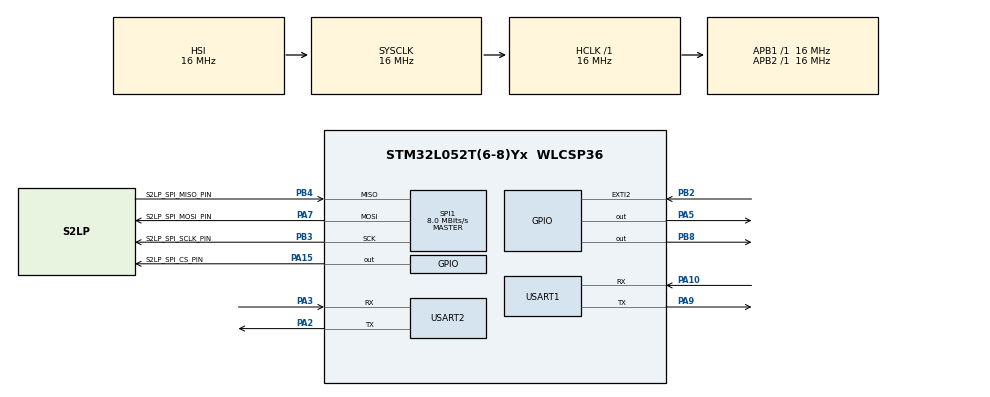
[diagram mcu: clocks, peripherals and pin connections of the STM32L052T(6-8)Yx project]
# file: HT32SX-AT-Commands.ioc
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Dma.Request0=SPI1_TX
Dma.Request1=SPI1_RX
Dma.Request2=USART1_RX
Dma.Request3=USART1_TX
Dma.SPI1_RX.1.Direction=DMA_PERIPH_TO_MEMORY
Dma.SPI1_RX.1.Instance=DMA1_Channel2
Dma.SPI1_RX.1.MemDataAlignment=DMA_MDATAALIGN_BYTE
Dma.SPI1_RX.1.MemInc=DMA_MINC_ENABLE
Dma.SPI1_RX.1.Mode=DMA_NORMAL
Dma.SPI1_RX.1.PeriphDataAlignment=DMA_PDATAALIGN_BYTE
Dma.SPI1_RX.1.PeriphInc=DMA_PINC_DISABLE
Dma.SPI1_RX.1.Priority=DMA_PRIORITY_HIGH
Dma.SPI1_TX.0.Direction=DMA_MEMORY_TO_PERIPH
Dma.SPI1_TX.0.Instance=DMA1_Channel3
Dma.SPI1_TX.0.MemDataAlignment=DMA_MDATAALIGN_BYTE
Dma.SPI1_TX.0.MemInc=DMA_MINC_ENABLE
Dma.SPI1_TX.0.Mode=DMA_NORMAL
Dma.SPI1_TX.0.PeriphDataAlignment=DMA_PDATAALIGN_BYTE
Dma.SPI1_TX.0.PeriphInc=DMA_PINC_DISABLE
Dma.SPI1_TX.0.Priority=DMA_PRIORITY_HIGH
Dma.USART1_RX.2.Direction=DMA_PERIPH_TO_MEMORY
Dma.USART1_RX.2.Instance=DMA1_Channel5
Dma.USART1_RX.2.MemDataAlignment=DMA_MDATAALIGN_BYTE
Dma.USART1_RX.2.MemInc=DMA_MINC_ENABLE
Dma.USART1_RX.2.Mode=DMA_CIRCULAR
Dma.USART1_RX.2.PeriphDataAlignment=DMA_PDATAALIGN_BYTE
Dma.USART1_RX.2.PeriphInc=DMA_PINC_DISABLE
Dma.USART1_RX.2.Priority=DMA_PRIORITY_LOW
Dma.USART1_TX.3.Direction=DMA_MEMORY_TO_PERIPH
Dma.USART1_TX.3.Instance=DMA1_Channel4
Dma.USART1_TX.3.MemDataAlignment=DMA_MDATAALIGN_BYTE
Dma.USART1_TX.3.MemInc=DMA_MINC_ENABLE
Dma.USART1_TX.3.Mode=DMA_NORMAL
Dma.USART1_TX.3.PeriphDataAlignment=DMA_PDATAALIGN_BYTE
Dma.USART1_TX.3.PeriphInc=DMA_PINC_DISABLE
Dma.USART1_TX.3.Priority=DMA_PRIORITY_HIGH
Mcu.Family=STM32L0
Mcu.Name=STM32L052T(6-8)Yx
Mcu.Package=WLCSP36
NVIC.DMA1_Channel2_3_IRQn=true\:1\:0\:true\:false\:true\:false\:true
NVIC.DMA1_Channel4_5_6_7_IRQn=true\:0\:0\:false\:false\:true\:false\:true
NVIC.EXTI2_3_IRQn=true\:0\:0\:false\:false\:true\:true\:true
NVIC.RTC_IRQn=true\:1\:0\:true\:false\:true\:true\:true
NVIC.TIM21_IRQn=true\:0\:0\:false\:false\:true\:true\:true
NVIC.TIM22_IRQn=true\:0\:0\:false\:false\:true\:true\:true
NVIC.TIM6_DAC_IRQn=true\:0\:0\:false\:false\:true\:true\:true
NVIC.USART1_IRQn=true\:2\:0\:true\:false\:true\:true\:true
PA0.Mode=SYS_WakeUp0
PA0.Signal=SYS_WKUP1
PA10.Mode=Asynchronous
PA10.Signal=USART1_RX
PA13.Mode=Serial_Wire
PA13.Signal=SYS_SWDIO
PA14.Mode=Serial_Wire
PA14.Signal=SYS_SWCLK
PA15.GPIO_Label=S2LP_SPI_CS_PIN
PA15.GPIO_PuPd=GPIO_PULLUP
PA15.GPIO_Speed=GPIO_SPEED_FREQ_HIGH
PA15.PinState=GPIO_PIN_SET
PA15.Signal=GPIO_Output
PA2.Mode=Asynchronous
PA2.Signal=USART2_TX
PA3.Mode=Asynchronous
PA3.Signal=USART2_RX
PA5.GPIO_Speed=GPIO_SPEED_FREQ_HIGH
PA5.Signal=GPIO_Output
PA7.GPIO_Label=S2LP_SPI_MOSI_PIN
PA7.GPIO_PuPd=GPIO_PULLUP
PA7.GPIO_Speed=GPIO_SPEED_FREQ_HIGH
PA7.Mode=Full_Duplex_Master
PA7.Signal=SPI1_MOSI
PA9.Mode=Asynchronous
PA9.Signal=USART1_TX
PB2.GPIO_ModeDefaultEXTI=GPIO_MODE_IT_FALLING
PB2.Signal=GPXTI2
PB3.GPIO_Label=S2LP_SPI_SCLK_PIN
PB3.GPIO_PuPd=GPIO_PULLUP
PB3.GPIO_Speed=GPIO_SPEED_FREQ_HIGH
PB3.Mode=Full_Duplex_Master
PB3.Signal=SPI1_SCK
PB4.GPIO_Label=S2LP_SPI_MISO_PIN
PB4.GPIO_PuPd=GPIO_PULLUP
PB4.GPIO_Speed=GPIO_SPEED_FREQ_HIGH
PB4.Mode=Full_Duplex_Master
PB4.Signal=SPI1_MISO
PB8.GPIO_Speed=GPIO_SPEED_FREQ_HIGH
PB8.Signal=GPIO_Output
ProjectManager.HeapSize=0x200
ProjectManager.StackSize=0x400
ProjectManager.TargetToolchain=STM32CubeIDE
RCC.AHBFreq_Value=16000000
RCC.APB1Freq_Value=16000000
RCC.APB1TimFreq_Value=16000000
RCC.APB2Freq_Value=16000000
RCC.APB2TimFreq_Value=16000000
RCC.HCLKFreq_Value=16000000
RCC.HSI16_VALUE=16000000
RCC.HSI48_VALUE=48000000
RCC.HSI_VALUE=16000000
RCC.LSE_VALUE=32768
RCC.MSI_VALUE=2097000
RCC.PLLDIV=RCC_PLLDIV_4
RCC.PLLMUL=RCC_PLLMUL_4
RCC.SYSCLKFreq_VALUE=16000000
RCC.SYSCLKSource=RCC_SYSCLKSOURCE_HSI
RCC.Usart1ClockSelection=RCC_USART1CLKSOURCE_HSI
RCC.VCOOutputFreq_Value=64000000
RTC.WakeUpCounter=1000
SPI1.CalculateBaudRate=8.0 MBits/s
SPI1.Direction=SPI_DIRECTION_2LINES
SPI1.Mode=SPI_MODE_MASTER
SPI1.VirtualType=VM_MASTER
TIM21.Period=50-1
TIM21.Prescaler=16000-1
TIM22.Period=60000-1
TIM22.Prescaler=16000-1
TIM6.Period=1000-1
TIM6.Prescaler=64-1
USART1.VirtualMode-Asynchronous=VM_ASYNC
USART2.VirtualMode-Asynchronous=VM_ASYNC
VP_ADC_TempSens_Input.Mode=IN-TempSens
VP_ADC_Vref_Input.Mode=IN-Vrefint
VP_RTC_VS_RTC_Activate.Mode=RTC_Enabled
VP_RTC_VS_RTC_Calendar.Mode=RTC_Calendar
VP_RTC_VS_RTC_WakeUp_intern.Mode=WakeUp
VP_TIM21_VS_ClockSourceINT.Mode=Internal
VP_TIM22_VS_ClockSourceINT.Mode=Internal
VP_TIM2_VS_ClockSourceINT.Mode=Internal
VP_TIM6_VS_ClockSourceINT.Mode=Enable_Timer
board=custom

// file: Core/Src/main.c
/* USER CODE BEGIN Header */
/**
 ******************************************************************************
 * @file           : main.c
 * @brief          : Main program body
 ******************************************************************************
 * @attention
 *
 * <h2><center>&copy; Copyright (c) 2019 STMicroelectronics.
 * All rights reserved.</center></h2>
 *
 * This software component is licensed by ST under BSD 3-Clause license,
 * the "License"; You may not use this file except in compliance with the
 * License. You may obtain a copy of the License at:
 *                        opensource.org/licenses/BSD-3-Clause
 *
 ******************************************************************************
 */
/* USER CODE END Header */

#include "main.h"
#include "adc.h"
#include "dma.h"
#include "rtc.h"
#include "spi.h"
#include "tim.h"
#include "usart.h"
#include "gpio.h"

/* USER CODE BEGIN Includes */
#include "SDK_UTILS_Flash.h"
#include "HT_mcu_api.h"
/* USER CODE END Includes */

void SystemClock_Config(void);

int main(void)
{

	/* MCU Configuration--------------------------------------------------------*/

	/* Reset of all peripherals, Initializes the Flash interface and the Systick. */
	HAL_Init();

	/* Configure the system clock */
	SystemClock_Config();

	/* Initialize all configured peripherals */
	MX_GPIO_Init();
	MX_DMA_Init();
	MX_RTC_Init();
	MX_SPI1_Init();
	MX_TIM6_Init();
	MX_USART1_UART_Init();
	MX_ADC_Init();
	MX_TIM2_Init();
	MX_TIM21_Init();
	MX_TIM22_Init();
	MX_USART2_UART_Init();
	/* USER CODE BEGIN 2 */

	GPIOA->BSRR = 1 << 5;

	__HAL_TIM_CLEAR_FLAG(&htim22, TIM_FLAG_UPDATE);
	HAL_TIM_Base_Start_IT(&htim22);

	mcuConfig();

	/* USER CODE END 2 */

	/* Infinite loop */
	while (1)
	{

		/* USER CODE BEGIN 3 */
		HT_hcfsm();
	}
	/* USER CODE END 3 */
}

void SystemClock_Config(void)
{
	RCC_OscInitTypeDef RCC_OscInitStruct = {0};
	RCC_ClkInitTypeDef RCC_ClkInitStruct = {0};
	RCC_PeriphCLKInitTypeDef PeriphClkInit = {0};

	/** Configure the main internal regulator output voltage
	 */
	__HAL_PWR_VOLTAGESCALING_CONFIG(PWR_REGULATOR_VOLTAGE_SCALE1);
	/** Initializes the CPU, AHB and APB busses clocks
	 */
	RCC_OscInitStruct.OscillatorType = RCC_OSCILLATORTYPE_HSI|RCC_OSCILLATORTYPE_LSI;
	RCC_OscInitStruct.HSIState = RCC_HSI_ON;
	RCC_OscInitStruct.HSICalibrationValue = RCC_HSICALIBRATION_DEFAULT;
	RCC_OscInitStruct.LSIState = RCC_LSI_ON;
	RCC_OscInitStruct.PLL.PLLState = RCC_PLL_NONE;
	if (HAL_RCC_OscConfig(&RCC_OscInitStruct) != HAL_OK)
	{
		Error_Handler();
	}
	/** Initializes the CPU, AHB and APB busses clocks
	 */
	RCC_ClkInitStruct.ClockType = RCC_CLOCKTYPE_HCLK|RCC_CLOCKTYPE_SYSCLK
			|RCC_CLOCKTYPE_PCLK1|RCC_CLOCKTYPE_PCLK2;
	RCC_ClkInitStruct.SYSCLKSource = RCC_SYSCLKSOURCE_HSI;
	RCC_ClkInitStruct.AHBCLKDivider = RCC_SYSCLK_DIV1;
	RCC_ClkInitStruct.APB1CLKDivider = RCC_HCLK_DIV1;
	RCC_ClkInitStruct.APB2CLKDivider = RCC_HCLK_DIV1;

	if (HAL_RCC_ClockConfig(&RCC_ClkInitStruct, FLASH_LATENCY_0) != HAL_OK)
	{
		Error_Handler();
	}
	PeriphClkInit.PeriphClockSelection = RCC_PERIPHCLK_USART1|RCC_PERIPHCLK_USART2
			|RCC_PERIPHCLK_RTC;
	PeriphClkInit.Usart1ClockSelection = RCC_USART1CLKSOURCE_HSI;
	PeriphClkInit.Usart2ClockSelection = RCC_USART2CLKSOURCE_PCLK1;
	PeriphClkInit.RTCClockSelection = RCC_RTCCLKSOURCE_LSI;
	if (HAL_RCCEx_PeriphCLKConfig(&PeriphClkInit) != HAL_OK)
	{
		Error_Handler();
	}
}

/* USER CODE BEGIN 4 */

void mcuConfig(void) {

	ST_SFX_ERR stSfxRetErr;

	ST_Init();

	NVM_BoardDataType sfxConfiguration;
	stSfxRetErr = ST_Sigfox_Init(&sfxConfiguration, 0);

	if(stSfxRetErr != ST_SFX_ERR_NONE) {
		if(stSfxRetErr == ST_SFX_ERR_CREDENTIALS) {
			sfxConfiguration.id = 0;
			memset(sfxConfiguration.pac, 0x00, 8);
			sfxConfiguration.rcz = 0;

		}
	}

	printUart("HT3\n");

	/* Calibrate RTC in case of STM32*/
	ST_MCU_API_TimerCalibration(500);

	ST_RF_API_set_xtal_freq(50000000);
	ST_RF_API_set_freq_offset(sfxConfiguration.freqOffset);
	ST_RF_API_set_rssi_offset(sfxConfiguration.rssiOffset);
	ST_RF_API_set_lbt_thr_offset(sfxConfiguration.lbtOffset);
}

void ST_Init(void) {
	/* Put the radio off */
	S2LPShutdownInit();
	HAL_Delay(10);
	S2LPShutdownExit();

	/* FEM Initialization */
	FEM_Init();
}

/* USER CODE END 4 */

void Error_Handler(void)
{
}

/************************ (C) COPYRIGHT STMicroelectronics *****END OF FILE****/
